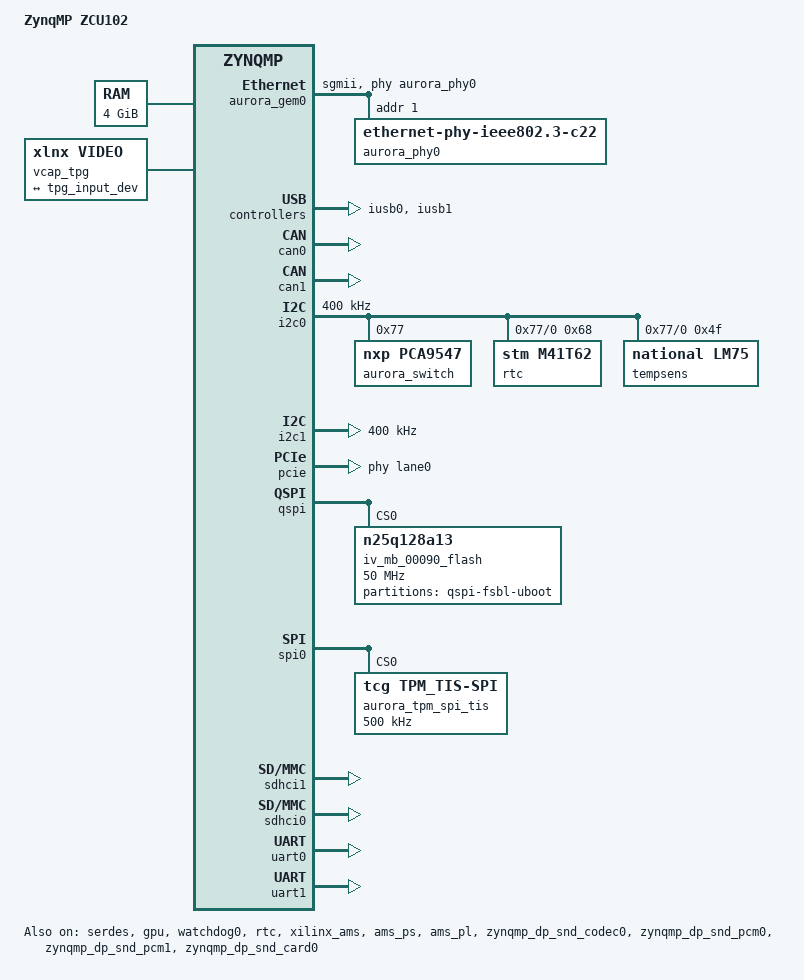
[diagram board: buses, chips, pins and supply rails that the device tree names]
/*
* dts file for iVeia Atlas-II-Z8
*
*
* Patrick Cleary <pcleary@iveia.com>
*
* This program is free software; you can redistribute it and/or
* modify it under the terms of the GNU General Public License as
* published by the Free Software Foundation; either version 2 of
* the License, or (at your option) any later version.
*/

/dts-v1/;

#include "zynqmp.dtsi"
#include "zynqmp-clk-ccf.dtsi"
#include <dt-bindings/gpio/gpio.h>
#include <dt-bindings/phy/phy.h>
#include <dt-bindings/media/xilinx-vip.h>

/ {
	model = "ZynqMP ZCU102";
	compatible = "xlnx,zynqmp-zcu102", "xlnx,zynqmp";


	aliases {
		ethernet0 = &aurora_gem0;
		gpio0 = &gpio;
		i2c0 = &i2c0;
		i2c1 = &i2c1;
		rtc0 = &rtc;
		serial0 = &uart1;
		serial1 = &uart0;
		spi0 = &qspi;
		usb0 = &iusb0;
		usb1 = &iusb1;
	};

	chosen {
                //bootargs = "console=ttyPS1,115200n8 earlycon=cdns,mmio,0xff010000,115200n8 init=/init video=DP-1:1024x768@60 root=/dev/mmcblk0p2 rw rootfstype=ext4 drm.debug=0xf rootwait androidboot.selinux=disabled androidboot.hardware=zcu102 qemu=1";
		//bootargs = "console=ttyPS0,115200n8 single root=/dev/mmcblk0p3 rw rootfstype=ext4 rootwait rw earlyprintk loglevel=9";
                //bootargs = "console=ttyPS1,115200n8 rw earlyprintk loglevel=9";
                bootargs = "earlycon loglevel=9";
                stdout-path = "serial0:115200n8";
	};

	memory {
		device_type = "memory";
		reg = <0x0 0x0 0x0 0x80000000>, <0x8 0x00000000 0x0 0x80000000>;
	};


};


&amba {

	sv_driver_plat@80000000 {
		compatible = "xlnx,sv_driver_plat";
		interrupt-parent = <&gic>;
		interrupts = <0x0 106 0x4>;
		reg = <0x0 0x80000000 0x0 0x1000 0x0 0x80001000 0x0 0x1000 0x0 0x80002000 0x0 0x1000 0x0 0x88000000 0x0 0x4000000 0x0 0x8C000000 0x0 0x4000000>;
	};

        fake_touch {
                compatible = "iveia,fakets";
        };

        /*
        //ETH0
	default_eth0: default_ethernet@ff0b0000 {
		compatible = "cdns,zynqmp-gem", "cdns,gem";
		status = "okay";
		interrupt-parent = <&gic>;
		interrupts = <0 57 4>, <0 57 4>;
		reg = <0x0 0xff0b0000 0x0 0x1000>;
		clocks = <&clk 31>, <&clk 104>, <&clk 45>, <&clk 49>, <&clk 44>;
		clock-names = "pclk", "hclk", "tx_clk", "rx_clk", "tsu_clk";
		#address-cells = <1>;
		#size-cells = <0>;
		#stream-id-cells = <1>;
		iommus = <&smmu 0x874>;
		power-domains = <&pd_eth0>;
		phy-mode = "gmii";

	};
        // ETH1
	iv_gem1: iv_ethernet@ff0c0000 {
		compatible = "cdns,zynqmp-gem", "cdns,gem";
		status = "okay";
		interrupt-parent = <&gic>;
		interrupts = <0 59 4>, <0 59 4>;
		reg = <0x0 0xff0c0000 0x0 0x1000>;
		clocks = <&clk 31>, <&clk 105>, <&clk 46>, <&clk 50>, <&clk 44>;
		clock-names = "pclk", "hclk", "tx_clk", "rx_clk", "tsu_clk";
		#address-cells = <1>;
		#size-cells = <0>;
		#stream-id-cells = <1>;
		iommus = <&smmu 0x875>;
		power-domains = <&pd_eth1>;

                phy-mode = "gmii";
	};

        // ETH2
	iv_gem2: iv_ethernet@ff0d0000 {
		compatible = "cdns,zynqmp-gem", "cdns,gem";
		status = "okay";
		interrupt-parent = <&gic>;
		interrupts = <0 61 4>, <0 61 4>;
		reg = <0x0 0xff0d0000 0x0 0x1000>;
		clocks = <&clk 31>, <&clk 106>, <&clk 47>, <&clk 51>, <&clk 44>;
		clock-names = "pclk", "hclk", "tx_clk", "rx_clk", "tsu_clk";
		#address-cells = <1>;
		#size-cells = <0>;
		#stream-id-cells = <1>;
		iommus = <&smmu 0x876>;
		power-domains = <&pd_eth2>;

                phy-mode = "gmii";
	};
        */
        
        // ETH3
        aurora_gem0: aurora_ethernet@ff0e0000 {
                //Aurora and Watershed have same PHY Connection
		compatible = "cdns,zynqmp-gem", "cdns,gem";
		status = "okay";
		interrupt-parent = <&gic>;
		interrupts = <0 63 4>, <0 63 4>;
		reg = <0x0 0xff0e0000 0x0 0x1000>;
		clocks = <&clk 31>, <&clk 107>, <&clk 48>, <&clk 52>, <&clk 44>;
		clock-names = "pclk", "hclk", "tx_clk", "rx_clk", "tsu_clk";
		#address-cells = <1>;
		#size-cells = <0>;
		#stream-id-cells = <1>;
		iommus = <&smmu 0x877>;
		power-domains = <&pd_eth3>;
                phy-mode = "sgmii";
                phy-names = "sgmii-phy";

                phy-handle = <&aurora_phy0>;
                use-internal-mdio = <1>;

                aurora_phy0: phy@0 {
                        compatible = "ethernet-phy-ieee802.3-c22";
                        device_type = "ethernet-phy";
                        reg = <1>;
                };
        };

	iusb0: iusb0 {//May need to delete for Atlas-III-Z8 RevA or RevB
		#address-cells = <2>;
		#size-cells = <2>;
		status = "okay";
		compatible = "xlnx,zynqmp-dwc3";
		reg = <0x0 0xff9d0000 0x0 0x100>;
		clocks = <&clk 32>, <&clk 34>;
		clock-names = "bus_clk", "ref_clk";
		power-domains = <&pd_usb0>;
		ranges;
		nvmem-cells = <&soc_revision>;
		nvmem-cell-names = "soc_revision";
                
		iv_dwc3_0: iv_dwc3@fe200000 {
			compatible = "snps,dwc3";
			status = "okay";
			reg = <0x0 0xfe200000 0x0 0x40000>;
			interrupt-parent = <&gic>;
			interrupts = <0 65 4>, <0 69 4>, <0 75 4>;
			#stream-id-cells = <1>;
			iommus = <&smmu 0x860>;
			snps,quirk-frame-length-adjustment = <0x20>;
			snps,refclk_fladj;
			snps,enable_guctl1_resume_quirk;
			snps,enable_guctl1_ipd_quirk;
			snps,xhci-stream-quirk;
			/* dma-coherent; */
			/* snps,enable-hibernation; */
                        
	                dr_mode = "host";
	                snps,usb3_lpm_capable;
	                phy-names = "usb3-phy";
	                //phys = <&lane0 PHY_TYPE_USB3 0 2 26000000>;
                        
		};
                
	};

	iusb1: iusb1 {//May need to delete for Atlas-III-Z8 RevA or RevB
		#address-cells = <2>;
		#size-cells = <2>;
		status = "okay";
		compatible = "xlnx,zynqmp-dwc3";
		reg = <0x0 0xff9e0000 0x0 0x100>;
		clocks = <&clk 33>, <&clk 34>;
		clock-names = "bus_clk", "ref_clk";
                
		power-domains = <&pd_usb1>;
		ranges;
		nvmem-cells = <&soc_revision>;
		nvmem-cell-names = "soc_revision";
                
		iv_dwc3_1: iv_dwc3_1@fe300000 {
			compatible = "snps,dwc3";
			status = "okay";
			reg = <0x0 0xfe300000 0x0 0x40000>;
			interrupt-parent = <&gic>;
			interrupts = <0 70 4>, <0 74 4>, <0 76 4>;
			#stream-id-cells = <1>;
			iommus = <&smmu 0x861>;
			snps,quirk-frame-length-adjustment = <0x20>;
			snps,refclk_fladj;
			snps,enable_guctl1_resume_quirk;
			snps,enable_guctl1_ipd_quirk;
			snps,xhci-stream-quirk;
			/* dma-coherent; */
                        
			// Required for USB 2.0
			snps,dis_u2_susphy_quirk;
			snps,dis_u3_susphy_quirk;
                        
			dr_mode = "peripheral";
			maximum-speed = "high-speed";
                        
		};
	};
        
//};
//
//amba_pl: amba_pl@0 {
        //        #address-cells = <2>;
        //        #size-cells = <2>;
        //        compatible = "simple-bus";
        //        ranges ;
        //        

        misc_clk_0: misc_clk_0 {
                #clock-cells = <0>;
                clock-frequency = <300000000>;
                compatible = "fixed-clock";
        };
        
        /**************************************************************/
        // TPG
        tpg_input@a0040000 {
                compatible = "xlnx,v-tpg-8.0", "xlnx,v-tpg-7.0";
                reg = <0x0 0xa0040000 0x0 0x10000>;
                clock-names = "s_axis_video_aclk";
                clocks = <&misc_clk_0>;
                reset-gpios = <&gpio 88 1>;
                //xlnx,max-height = <2160>;
                //xlnx,max-width = <3840>;
                //xlnx,ppc = <0x2>;

                ports {
                        #address-cells = <0x1>;
                        #size-cells = <0x0>;

                        port@0 {
                                reg = <0x0>;
                                xlnx,video-format = <XVIP_VF_RBG>;
                                xlnx,video-width = <8>;

                                tpg_input_dev: endpoint {
                                        remote-endpoint = <&vcap_tpg_dev>;
                                };
                        };
                };
        };
        // TPG frame buffer
        tpg_input_frmbuf: v_frmbuf_wr@a0030000 {
                compatible = "xlnx,v-frmbuf-wr-2", "xlnx,axi-frmbuf-wr-v2";
                #dma-cells = <1>;
                interrupt-names = "interrupt";
                interrupt-parent = <&gic>;
                interrupts = <0 90 4>;
                reg = <0x0 0xa0030000 0x0 0x10000>;
                reset-gpios = <&gpio 89 1>;
                xlnx,dma-addr-width = <64>;
                xlnx,vid-formats = "rgb888","bgr888";
                //clock-names = "ap_clk";
                //clocks = <&misc_clk_0>;
                //xlnx,dma-align = <32>;
                //xlnx,max-height = <2160>;
                //xlnx,max-width = <3840>;
                //xlnx,pixels-per-clock = <1>;
                //xlnx,s-axi-ctrl-addr-width = <0x7>;
                //xlnx,s-axi-ctrl-data-width = <0x20>;
                //xlnx,video-width = <8>;
        };
        vcap_tpg {
                compatible = "xlnx,video";
                dmas = <&tpg_input_frmbuf 0>;
                dma-names = "port0";

                ports {
                        #address-cells = <0x1>;
                        #size-cells = <0x0>;

                        port@0 {
                                reg = <0x0>;
                                direction = "input";

                                vcap_tpg_dev: endpoint {
                                        remote-endpoint = <&tpg_input_dev>;
                                };
                        };
                };
        };
        /* ---------------------------------------------------------- */

        /*************************************************************/
        // Dummy input from output
        /*
        dummy_io {
		compatible = "xlnx,dummy";
		#address-cells = <0x1>;
		#size-cells = <0x0>;
		clocks = <&misc_clk_0>;
		reset-gpios = <&gpio 118 1>;
		//reg = <0x0 0xa02e0000 0x0 0x10000>;
                
		ports {
			#address-cells = <0x1>;
                	#size-cells = <0x0>;

	                port@0 {
				reg = <0x0>;
				xlnx,video-format = <XVIP_VF_RBG>;
				xlnx,video-width = <0x8>;

				dummy_io_dev: endpoint {
					remote-endpoint = <&vcap_dummy_io_dev>;
				};
			};
		};
	};

	dummy_io_frmbuf: frmbuf_wr@a0020000 {
		compatible = "xlnx,axi-frmbuf-wr-v2";
		#dma-cells = <1>;
		interrupt-parent = <&gic>;
		interrupts = <0 92 4>;
		reg = <0x0 0xa0020000 0x0 0x10000>;
		reset-gpios = <&gpio 99 1>;
		xlnx,dma-addr-width = <64>;
		xlnx,vid-formats = "bgr888","rgb888";
	};

	vcap_dummy_io {
		compatible = "xlnx,video";
		dmas = <&dummy_io_frmbuf 0>;
		dma-names = "port0";

		ports {
			#address-cells = <0x1>;
			#size-cells = <0x0>;

			port@0 {
				reg = <0x0>;
				direction = "input";

				vcap_dummy_io_dev: endpoint {
					remote-endpoint = <&dummy_io_dev>;
				};
			};
		};
	};
        */
        // -------------------------------------------------------------

        /**************************************************************/
        // Dummy output
	//hdmi_output_v_frmbuf_rd_0: v_frmbuf_rd@a0040000 {
		//        compatible = "xlnx,axi-frmbuf-rd-v2";
		//        #dma-cells = <1>;
		//        interrupt-parent = <&gic>;
		//        interrupts = <0 89 4>;
		//        reg = <0x0 0xa0040000 0x0 0x10000>;
		//        reset-gpios = <&gpio 79 1>;
		//        xlnx,dma-addr-width = <64>;
		//        xlnx,vid-formats = "bgr888","rgb888";
	//};



};

&pss_ref_clk {
        clock-frequency = <50000000>;
};

&fclk0 {
	status = "okay";
	clock-frequency = <50000000>;
};

&fclk1 {
	status = "okay";
	clock-frequency = <100000000>;
};

&fclk2 {
	status = "okay";
	clock-frequency = <150000000>;
};

&fclk3 {
	status = "okay";
	clock-frequency = <100000000>;
};

&serdes {
	status = "okay";
};

&can0 {
	status = "okay";
};

&can1 {
	status = "okay";
};

&gpio {
	status = "okay";
};


&fpd_dma_chan1 {
	status = "okay";
};

&fpd_dma_chan2 {
	status = "okay";
};

&fpd_dma_chan3 {
	status = "okay";
};

&fpd_dma_chan4 {
	status = "okay";
};

&fpd_dma_chan5 {
	status = "okay";
};

&fpd_dma_chan6 {
	status = "okay";
};

&fpd_dma_chan7 {
	status = "okay";
};

&fpd_dma_chan8 {
	status = "okay";
};

&gpio {
	status = "okay";
};

&gpu {
	status = "okay";
};

&watchdog0 {
	status = "okay";
};

&i2c0 {
	status = "okay";
	clock-frequency = <400000>;
        
	aurora_switch@77 {
                compatible = "nxp,pca9547";
                #address-cells = <1>;
                #size-cells = <0>;
                reg = <0x77>;
	        
		i2c@0 {
			#address-cells = <1>;
                        #size-cells = <0>;
                        reg = <0>;
	                
                        rtc@68 {
                                compatible = "stm,m41t62";
                                reg = <0x68>;
                        };

                        tempsens@4f {
                                compatible = "national,lm75";
                                reg = <0x4f>;
                        };			
                };		
	};

};

&i2c1 {
	status = "okay";
	clock-frequency = <400000>;
};

&pcie {
	status = "okay";
	phys = <&lane0 PHY_TYPE_PCIE 0 0 100000000>;
};

&qspi {
        status = "okay";
        is-dual = <0>;
        iv_mb_00090_flash@0 {
                compatible = "n25q128a13";
                #address-cells = <1>;
                #size-cells = <1>;
                reg = <0x0>;
                spi-max-frequency = <50000000>;
                partition@qspi-fsbl-uboot {
                        label = "qspi-fsbl-uboot";
                        reg = <0x0 0x1000000>;
                };
        };
};

&spi0 {
	status = "okay";

	aurora_tpm_spi_tis@0{
		compatible = "tcg,tpm_tis-spi";
 		reg = <0>;	/* CE0 */
 		spi-max-frequency = <500000>;
 	};
};

&rtc {
	status = "okay";
};

/* SD1 with level shifter */
&sdhci1 {
	status = "okay";
	no-1-8-v;
	xlnx,mio_bank = <1>;
	disable-wp;
};

&sdhci0 {
	status = "okay";
	no-1-8-v;
	xlnx,mio_bank = <0>;
	disable-wp;
};

&uart0 {
	status = "okay";
};

&uart1 {
	status = "okay";
};

&xilinx_ams {
	status = "okay";
};

&ams_ps {
	status = "okay";
};

&ams_pl {
	status = "okay";
};

//In ZCU102 DTS. Added with kernel update for 2018.3

&zynqmp_dp_snd_codec0 {
	status = "okay";
};

&zynqmp_dp_snd_pcm0 {
	status = "okay";
};

&zynqmp_dp_snd_pcm1 {
	status = "okay";
};

&zynqmp_dp_snd_card0 {
	status = "okay";
};

&xlnx_dpdma {
	status = "okay";
};
